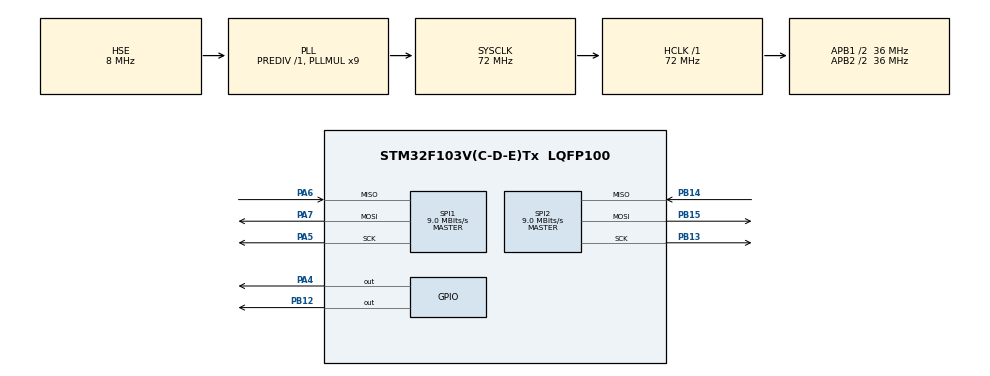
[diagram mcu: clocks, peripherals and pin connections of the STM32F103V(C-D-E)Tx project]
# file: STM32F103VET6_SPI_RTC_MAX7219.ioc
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Mcu.Family=STM32F1
Mcu.Name=STM32F103V(C-D-E)Tx
Mcu.Package=LQFP100
NVIC.PriorityGroup=NVIC_PRIORITYGROUP_4
OSC_IN.Mode=HSE-External-Oscillator
OSC_IN.Signal=RCC_OSC_IN
OSC_OUT.Mode=HSE-External-Oscillator
OSC_OUT.Signal=RCC_OSC_OUT
PA13.Mode=Serial_Wire
PA13.Signal=SYS_JTMS-SWDIO
PA14.Mode=Serial_Wire
PA14.Signal=SYS_JTCK-SWCLK
PA4.GPIO_ModeDefaultOutputPP=GPIO_MODE_OUTPUT_PP
PA4.GPIO_Speed=GPIO_SPEED_FREQ_HIGH
PA4.PinState=GPIO_PIN_SET
PA4.Signal=GPIO_Output
PA5.Mode=Full_Duplex_Master
PA5.Signal=SPI1_SCK
PA6.Mode=Full_Duplex_Master
PA6.Signal=SPI1_MISO
PA7.Mode=Full_Duplex_Master
PA7.Signal=SPI1_MOSI
PB12.GPIO_ModeDefaultOutputPP=GPIO_MODE_OUTPUT_PP
PB12.GPIO_Speed=GPIO_SPEED_FREQ_HIGH
PB12.PinState=GPIO_PIN_SET
PB12.Signal=GPIO_Output
PB13.Mode=Full_Duplex_Master
PB13.Signal=SPI2_SCK
PB14.Mode=Full_Duplex_Master
PB14.Signal=SPI2_MISO
PB15.Mode=Full_Duplex_Master
PB15.Signal=SPI2_MOSI
PC14-OSC32_IN.Mode=LSE-External-Oscillator
PC14-OSC32_IN.Signal=RCC_OSC32_IN
PC15-OSC32_OUT.Mode=LSE-External-Oscillator
PC15-OSC32_OUT.Signal=RCC_OSC32_OUT
ProjectManager.HeapSize=0x200
ProjectManager.StackSize=0x400
ProjectManager.TargetToolchain=MDK-ARM V5
RCC.AHBFreq_Value=72000000
RCC.APB1CLKDivider=RCC_HCLK_DIV2
RCC.APB1Freq_Value=36000000
RCC.APB1TimFreq_Value=72000000
RCC.APB2CLKDivider=RCC_HCLK_DIV2
RCC.APB2Freq_Value=36000000
RCC.APB2TimFreq_Value=72000000
RCC.HCLKFreq_Value=72000000
RCC.HSIState=RCC_HSI_ON
RCC.PLLMUL=RCC_PLL_MUL9
RCC.PLLSourceVirtual=RCC_PLLSOURCE_HSE
RCC.RTCClockSelection=RCC_RTCCLKSOURCE_LSE
RCC.SYSCLKFreq_VALUE=72000000
RCC.SYSCLKSource=RCC_SYSCLKSOURCE_PLLCLK
RCC.USBFreq_Value=72000000
RTC.Date=21
RTC.Format=RTC_FORMAT_BCD
RTC.Hours=9
RTC.Minutes=59
RTC.Month=RTC_MONTH_DECEMBER
RTC.WeekDay=RTC_WEEKDAY_WEDNESDAY
RTC.Year=16
SPI1.BaudRatePrescaler=SPI_BAUDRATEPRESCALER_4
SPI1.CalculateBaudRate=9.0 MBits/s
SPI1.Mode=SPI_MODE_MASTER
SPI2.BaudRatePrescaler=SPI_BAUDRATEPRESCALER_4
SPI2.CalculateBaudRate=9.0 MBits/s
SPI2.Mode=SPI_MODE_MASTER
VP_RTC_VS_RTC_Activate.Mode=RTC_Enabled
VP_RTC_VS_RTC_Calendar.Mode=RTC_Calendar
board=STM32F103VET6_SPI_RTC_MAX7219

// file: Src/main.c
/**
  ******************************************************************************
  * File Name          : main.c
  * Description        : Main program body
  ******************************************************************************
  *
  * COPYRIGHT(c) 2016 STMicroelectronics
  *
  * Redistribution and use in source and binary forms, with or without modification,
  * are permitted provided that the following conditions are met:
  *   1. Redistributions of source code must retain the above copyright notice,
  *      this list of conditions and the following disclaimer.
  *   2. Redistributions in binary form must reproduce the above copyright notice,
  *      this list of conditions and the following disclaimer in the documentation
  *      and/or other materials provided with the distribution.
  *   3. Neither the name of STMicroelectronics nor the names of its contributors
  *      may be used to endorse or promote products derived from this software
  *      without specific prior written permission.
  *
  * THIS SOFTWARE IS PROVIDED BY THE COPYRIGHT HOLDERS AND CONTRIBUTORS "AS IS"
  * AND ANY EXPRESS OR IMPLIED WARRANTIES, INCLUDING, BUT NOT LIMITED TO, THE
  * IMPLIED WARRANTIES OF MERCHANTABILITY AND FITNESS FOR A PARTICULAR PURPOSE ARE
  * DISCLAIMED. IN NO EVENT SHALL THE COPYRIGHT HOLDER OR CONTRIBUTORS BE LIABLE
  * FOR ANY DIRECT, INDIRECT, INCIDENTAL, SPECIAL, EXEMPLARY, OR CONSEQUENTIAL
  * DAMAGES (INCLUDING, BUT NOT LIMITED TO, PROCUREMENT OF SUBSTITUTE GOODS OR
  * SERVICES; LOSS OF USE, DATA, OR PROFITS; OR BUSINESS INTERRUPTION) HOWEVER
  * CAUSED AND ON ANY THEORY OF LIABILITY, WHETHER IN CONTRACT, STRICT LIABILITY,
  * OR TORT (INCLUDING NEGLIGENCE OR OTHERWISE) ARISING IN ANY WAY OUT OF THE USE
  * OF THIS SOFTWARE, EVEN IF ADVISED OF THE POSSIBILITY OF SUCH DAMAGE.
  *
  ******************************************************************************
  */
#include "main.h"
#include "stm32f1xx_hal.h"

/* USER CODE BEGIN Includes */
#include "max7219.h"
#include "string.h"
/* USER CODE END Includes */

RTC_HandleTypeDef hrtc;

SPI_HandleTypeDef hspi1;
SPI_HandleTypeDef hspi2;

/* USER CODE BEGIN PV */
/* Private variables ---------------------------------------------------------*/

/* USER CODE END PV */

void SystemClock_Config(void);
void Error_Handler(void);
static void MX_GPIO_Init(void);
static void MX_RTC_Init(void);
static void MX_SPI1_Init(void);
static void MX_SPI2_Init(void);

/* USER CODE BEGIN PFP */
/* Private function prototypes -----------------------------------------------*/

/* USER CODE END PFP */

/* USER CODE BEGIN 0 */

uint8_t RX_Data[64], RX_Buffer[64], RX_Index=0, mystring[]="Electronic4U \r";
uint8_t Second, Minute, Hour;
uint8_t Date, Day, Month, Year;
RTC_TimeTypeDef sTime;
RTC_DateTypeDef DateToUpdate;
/* USER CODE END 0 */

int main(void)
{

  /* MCU Configuration----------------------------------------------------------*/

  /* Reset of all peripherals, Initializes the Flash interface and the Systick. */
  HAL_Init();

  /* Configure the system clock */
  SystemClock_Config();

  /* Initialize all configured peripherals */
  MX_GPIO_Init();
  MX_RTC_Init();
  MX_SPI1_Init();
  MX_SPI2_Init();

  /* USER CODE BEGIN 2 */
		Init_SPI1();
		Init_SPI2();
		//Number_SPI2(12345678);
		Send_SPI2(1, 1); 	Send_SPI1(1, 1); 	HAL_Delay(50);
		Send_SPI2(2, 2);	Send_SPI1(2, 2);	HAL_Delay(50);
		Send_SPI2(3, 3);	Send_SPI1(3, 3);	HAL_Delay(50);
		Send_SPI2(4, 4);	Send_SPI1(4, 4);	HAL_Delay(50);
		Send_SPI2(5, 5);	Send_SPI1(5, 5);	HAL_Delay(50);
		Send_SPI2(6, 6);	Send_SPI1(6, 6);	HAL_Delay(50);
		Send_SPI2(7, 7);	Send_SPI1(7, 7);	HAL_Delay(50);
		Send_SPI2(8, 8);	Send_SPI1(8, 8);	HAL_Delay(1000);
		Clear_SPI2();
		Clear_SPI1();

  /* USER CODE END 2 */

  /* Infinite loop */
  while (1)
  {

  /* USER CODE BEGIN 3 */
		HAL_RTC_GetTime(&hrtc,&sTime,RTC_FORMAT_BIN);
		HAL_RTC_GetDate(&hrtc,&DateToUpdate,RTC_FORMAT_BIN);
		Second = sTime.Seconds;
		Minute = sTime.Minutes;
		Hour = sTime.Hours;
		Day = DateToUpdate.WeekDay;

		Date = DateToUpdate.Date;
		Month = DateToUpdate.Month;
		Year = DateToUpdate.Year;

		Send_SPI1(1, Hour/10);
		Send_SPI1(2, Hour%10);
		Send_SPI1(3, '*');
		Send_SPI1(4, Minute/10);
		Send_SPI1(5, Minute%10);
		Send_SPI1(6, '*');
		Send_SPI1(7, Second/10);
		Send_SPI1(8, Second%10);
		HAL_Delay(100);
		Send_SPI2(1, Date/10);
		Send_SPI2(2, Date%10);
		Send_SPI2(3, '*');
		Send_SPI2(4, Month/10);
		Send_SPI2(5, Month%10);
		Send_SPI2(6, '*');
		Send_SPI2(7, Year/10);
		Send_SPI2(8, Year%10);

  }
  /* USER CODE END 3 */

}

/** System Clock Configuration
*/
void SystemClock_Config(void)
{

  RCC_OscInitTypeDef RCC_OscInitStruct;
  RCC_ClkInitTypeDef RCC_ClkInitStruct;
  RCC_PeriphCLKInitTypeDef PeriphClkInit;

    /**Initializes the CPU, AHB and APB busses clocks
    */
  RCC_OscInitStruct.OscillatorType = RCC_OSCILLATORTYPE_HSE|RCC_OSCILLATORTYPE_LSE;
  RCC_OscInitStruct.HSEState = RCC_HSE_ON;
  RCC_OscInitStruct.HSEPredivValue = RCC_HSE_PREDIV_DIV1;
  RCC_OscInitStruct.LSEState = RCC_LSE_ON;
  RCC_OscInitStruct.HSIState = RCC_HSI_ON;
  RCC_OscInitStruct.PLL.PLLState = RCC_PLL_ON;
  RCC_OscInitStruct.PLL.PLLSource = RCC_PLLSOURCE_HSE;
  RCC_OscInitStruct.PLL.PLLMUL = RCC_PLL_MUL9;
  if (HAL_RCC_OscConfig(&RCC_OscInitStruct) != HAL_OK)
  {
    Error_Handler();
  }

    /**Initializes the CPU, AHB and APB busses clocks
    */
  RCC_ClkInitStruct.ClockType = RCC_CLOCKTYPE_HCLK|RCC_CLOCKTYPE_SYSCLK
                              |RCC_CLOCKTYPE_PCLK1|RCC_CLOCKTYPE_PCLK2;
  RCC_ClkInitStruct.SYSCLKSource = RCC_SYSCLKSOURCE_PLLCLK;
  RCC_ClkInitStruct.AHBCLKDivider = RCC_SYSCLK_DIV1;
  RCC_ClkInitStruct.APB1CLKDivider = RCC_HCLK_DIV2;
  RCC_ClkInitStruct.APB2CLKDivider = RCC_HCLK_DIV2;

  if (HAL_RCC_ClockConfig(&RCC_ClkInitStruct, FLASH_LATENCY_2) != HAL_OK)
  {
    Error_Handler();
  }

  PeriphClkInit.PeriphClockSelection = RCC_PERIPHCLK_RTC;
  PeriphClkInit.RTCClockSelection = RCC_RTCCLKSOURCE_LSE;
  if (HAL_RCCEx_PeriphCLKConfig(&PeriphClkInit) != HAL_OK)
  {
    Error_Handler();
  }

    /**Configure the Systick interrupt time
    */
  HAL_SYSTICK_Config(HAL_RCC_GetHCLKFreq()/1000);

    /**Configure the Systick
    */
  HAL_SYSTICK_CLKSourceConfig(SYSTICK_CLKSOURCE_HCLK);

  /* SysTick_IRQn interrupt configuration */
  HAL_NVIC_SetPriority(SysTick_IRQn, 0, 0);
}

/* RTC init function */
static void MX_RTC_Init(void)
{

  RTC_TimeTypeDef sTime;
  RTC_DateTypeDef DateToUpdate;

    /**Initialize RTC Only
    */
  hrtc.Instance = RTC;
  hrtc.Init.AsynchPrediv = RTC_AUTO_1_SECOND;
  hrtc.Init.OutPut = RTC_OUTPUTSOURCE_ALARM;
  if (HAL_RTC_Init(&hrtc) != HAL_OK)
  {
    Error_Handler();
  }

    /**Initialize RTC and set the Time and Date
    */
  sTime.Hours = 0x9;
  sTime.Minutes = 0x59;
  sTime.Seconds = 0x0;

  if (HAL_RTC_SetTime(&hrtc, &sTime, RTC_FORMAT_BCD) != HAL_OK)
  {
    Error_Handler();
  }

  DateToUpdate.WeekDay = RTC_WEEKDAY_WEDNESDAY;
  DateToUpdate.Month = RTC_MONTH_DECEMBER;
  DateToUpdate.Date = 0x21;
  DateToUpdate.Year = 0x16;

  if (HAL_RTC_SetDate(&hrtc, &DateToUpdate, RTC_FORMAT_BCD) != HAL_OK)
  {
    Error_Handler();
  }

}

/* SPI1 init function */
static void MX_SPI1_Init(void)
{

  hspi1.Instance = SPI1;
  hspi1.Init.Mode = SPI_MODE_MASTER;
  hspi1.Init.Direction = SPI_DIRECTION_2LINES;
  hspi1.Init.DataSize = SPI_DATASIZE_8BIT;
  hspi1.Init.CLKPolarity = SPI_POLARITY_LOW;
  hspi1.Init.CLKPhase = SPI_PHASE_1EDGE;
  hspi1.Init.NSS = SPI_NSS_SOFT;
  hspi1.Init.BaudRatePrescaler = SPI_BAUDRATEPRESCALER_4;
  hspi1.Init.FirstBit = SPI_FIRSTBIT_MSB;
  hspi1.Init.TIMode = SPI_TIMODE_DISABLE;
  hspi1.Init.CRCCalculation = SPI_CRCCALCULATION_DISABLE;
  hspi1.Init.CRCPolynomial = 10;
  if (HAL_SPI_Init(&hspi1) != HAL_OK)
  {
    Error_Handler();
  }

}

/* SPI2 init function */
static void MX_SPI2_Init(void)
{

  hspi2.Instance = SPI2;
  hspi2.Init.Mode = SPI_MODE_MASTER;
  hspi2.Init.Direction = SPI_DIRECTION_2LINES;
  hspi2.Init.DataSize = SPI_DATASIZE_8BIT;
  hspi2.Init.CLKPolarity = SPI_POLARITY_LOW;
  hspi2.Init.CLKPhase = SPI_PHASE_1EDGE;
  hspi2.Init.NSS = SPI_NSS_SOFT;
  hspi2.Init.BaudRatePrescaler = SPI_BAUDRATEPRESCALER_4;
  hspi2.Init.FirstBit = SPI_FIRSTBIT_MSB;
  hspi2.Init.TIMode = SPI_TIMODE_DISABLE;
  hspi2.Init.CRCCalculation = SPI_CRCCALCULATION_DISABLE;
  hspi2.Init.CRCPolynomial = 10;
  if (HAL_SPI_Init(&hspi2) != HAL_OK)
  {
    Error_Handler();
  }

}

/** Configure pins as
        * Analog
        * Input
        * Output
        * EVENT_OUT
        * EXTI
*/
static void MX_GPIO_Init(void)
{

  GPIO_InitTypeDef GPIO_InitStruct;

  /* GPIO Ports Clock Enable */
  __HAL_RCC_GPIOC_CLK_ENABLE();
  __HAL_RCC_GPIOA_CLK_ENABLE();
  __HAL_RCC_GPIOB_CLK_ENABLE();

  /*Configure GPIO pin Output Level */
  HAL_GPIO_WritePin(GPIOA, GPIO_PIN_4, GPIO_PIN_SET);

  /*Configure GPIO pin Output Level */
  HAL_GPIO_WritePin(GPIOB, GPIO_PIN_12, GPIO_PIN_SET);

  /*Configure GPIO pin : PA4 */
  GPIO_InitStruct.Pin = GPIO_PIN_4;
  GPIO_InitStruct.Mode = GPIO_MODE_OUTPUT_PP;
  GPIO_InitStruct.Speed = GPIO_SPEED_FREQ_HIGH;
  HAL_GPIO_Init(GPIOA, &GPIO_InitStruct);

  /*Configure GPIO pin : PB12 */
  GPIO_InitStruct.Pin = GPIO_PIN_12;
  GPIO_InitStruct.Mode = GPIO_MODE_OUTPUT_PP;
  GPIO_InitStruct.Speed = GPIO_SPEED_FREQ_HIGH;
  HAL_GPIO_Init(GPIOB, &GPIO_InitStruct);

}

void Error_Handler(void)
{
  while(1)
  {
  }
}

/************************ (C) COPYRIGHT STMicroelectronics *****END OF FILE****/
